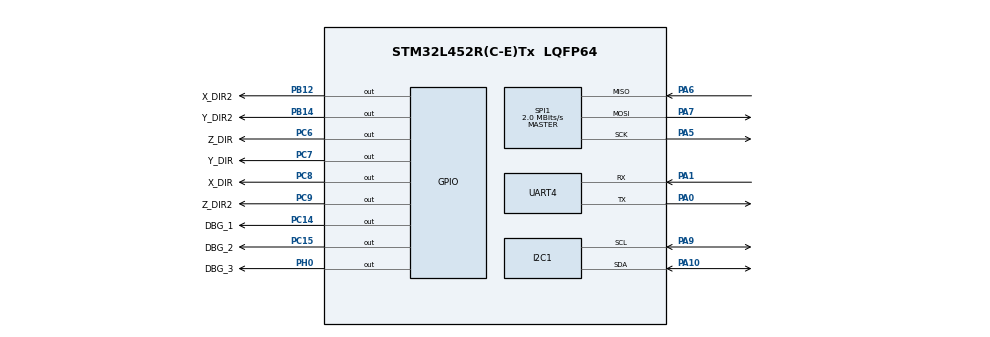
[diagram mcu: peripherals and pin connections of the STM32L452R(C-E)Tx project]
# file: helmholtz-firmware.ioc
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Mcu.Family=STM32L4
Mcu.Name=STM32L452R(C-E)Tx
Mcu.Package=LQFP64
NVIC.PriorityGroup=NVIC_PRIORITYGROUP_4
NVIC.UART4_IRQn=true\:0\:0\:false\:false\:true\:true\:true\:true
PA0.Mode=Asynchronous
PA0.Signal=UART4_TX
PA1.Mode=Asynchronous
PA1.Signal=UART4_RX
PA10.Mode=I2C
PA10.Signal=I2C1_SDA
PA13\ (JTMS/SWDIO).Mode=Serial_Wire
PA13\ (JTMS/SWDIO).Signal=SYS_JTMS-SWDIO
PA14\ (JTCK/SWCLK).Mode=Serial_Wire
PA14\ (JTCK/SWCLK).Signal=SYS_JTCK-SWCLK
PA5.Mode=Full_Duplex_Master
PA5.Signal=SPI1_SCK
PA6.Mode=Full_Duplex_Master
PA6.Signal=SPI1_MISO
PA7.Mode=Full_Duplex_Master
PA7.Signal=SPI1_MOSI
PA9.Mode=I2C
PA9.Signal=I2C1_SCL
PB12.GPIO_Label=X_DIR2
PB12.Signal=GPIO_Output
PB14.GPIO_Label=Y_DIR2
PB14.Signal=GPIO_Output
PC14-OSC32_IN\ (PC14).GPIO_Label=DBG_1
PC14-OSC32_IN\ (PC14).Signal=GPIO_Output
PC15-OSC32_OUT\ (PC15).GPIO_Label=DBG_2
PC15-OSC32_OUT\ (PC15).Signal=GPIO_Output
PC6.GPIO_Label=Z_DIR
PC6.GPIO_PuPd=GPIO_NOPULL
PC6.Signal=GPIO_Output
PC7.GPIO_Label=Y_DIR
PC7.GPIO_PuPd=GPIO_NOPULL
PC7.Signal=GPIO_Output
PC8.GPIO_Label=X_DIR
PC8.GPIO_PuPd=GPIO_NOPULL
PC8.Signal=GPIO_Output
PC9.GPIO_Label=Z_DIR2
PC9.Signal=GPIO_Output
PH0-OSC_IN\ (PH0).GPIO_Label=DBG_3
PH0-OSC_IN\ (PH0).Signal=GPIO_Output
ProjectManager.HeapSize=0x200
ProjectManager.StackSize=0x400
ProjectManager.TargetToolchain=STM32CubeIDE
RCC.HSE_VALUE=8000000
RCC.HSI48_VALUE=48000000
RCC.HSI_VALUE=16000000
RCC.LSE_VALUE=32768
RCC.MSI_VALUE=4000000
RCC.VCOOutputFreq_Value=32000000
SPI1.CalculateBaudRate=2.0 MBits/s
SPI1.Direction=SPI_DIRECTION_2LINES
SPI1.Mode=SPI_MODE_MASTER
SPI1.VirtualType=VM_MASTER
board=custom

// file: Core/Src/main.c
/* USER CODE BEGIN Header */
/**
  ******************************************************************************
  * @file           : main.c
  * @brief          : Main program body
  ******************************************************************************
  * @attention
  *
  * Copyright (c) 2023 STMicroelectronics.
  * All rights reserved.
  *
  * This software is licensed under terms that can be found in the LICENSE file
  * in the root directory of this software component.
  * If no LICENSE file comes with this software, it is provided AS-IS.
  *
  ******************************************************************************
  */
/* USER CODE END Header */
#include "main.h"

/* USER CODE BEGIN Includes */

// Drivers
#include "UART/UART.h"
#include "I2C/I2C.h"

// Peripherals
#include "DAC081/DAC081.h"
#include "MAX222/MAX222.h"

/* USER CODE END Includes */

I2C_HandleTypeDef hi2c1;

SPI_HandleTypeDef hspi1;

UART_HandleTypeDef huart4;

void SystemClock_Config(void);
static void MX_GPIO_Init(void);
static void MX_I2C1_Init(void);
static void MX_SPI1_Init(void);
static void MX_UART4_Init(void);

int main(void)
{

  /* MCU Configuration--------------------------------------------------------*/

  /* Reset of all peripherals, Initializes the Flash interface and the Systick. */
  HAL_Init();

  /* Configure the system clock */
  SystemClock_Config();

  /* Initialize all configured peripherals */
  MX_GPIO_Init();
  MX_I2C1_Init();
  MX_SPI1_Init();
  MX_UART4_Init();
  /* USER CODE BEGIN 2 */

  // initialize I2C
  hcc_i2c_t hcc_i2c;
  hcc_i2c_init(&hcc_i2c, &hi2c1);

  // wake up H-Bridges and set directions
  hcc_bridge_wake();

  hcc_set_x(1);
  hcc_set_y(1);
  hcc_set_z(1);

  /* USER CODE END 2 */

  /* Infinite loop */
  /* USER CODE BEGIN WHILE */

  uint8_t dir = 1;
  uint8_t i = 255;
  uint8_t packet[] = {0,0};

  while (1)
  {
	i = i - 1;
	if(i == 70){
		i = 255;
		dir = !dir;
		hcc_set_x(dir);
		hcc_set_y(dir);
		hcc_set_z(dir);
	}
	uint8_t b1 = i >> 4 & 0x0F;
    uint8_t b2 = i & 0xF0;
	packet[0] = b1;
	packet[1] = b2;
    HAL_I2C_Master_Transmit(&hi2c1, X_DAC, packet, sizeof(packet), HAL_MAX_DELAY);
    HAL_I2C_Master_Transmit(&hi2c1, Y_DAC, packet, sizeof(packet), HAL_MAX_DELAY);
    HAL_I2C_Master_Transmit(&hi2c1, Z_DAC, packet, sizeof(packet), HAL_MAX_DELAY);
    HAL_Delay(10);
    /* USER CODE END WHILE */

  }
}

void SystemClock_Config(void)
{
  RCC_OscInitTypeDef RCC_OscInitStruct = {0};
  RCC_ClkInitTypeDef RCC_ClkInitStruct = {0};

  /** Configure the main internal regulator output voltage
  */
  if (HAL_PWREx_ControlVoltageScaling(PWR_REGULATOR_VOLTAGE_SCALE1) != HAL_OK)
  {
    Error_Handler();
  }

  /** Initializes the RCC Oscillators according to the specified parameters
  * in the RCC_OscInitTypeDef structure.
  */
  RCC_OscInitStruct.OscillatorType = RCC_OSCILLATORTYPE_MSI;
  RCC_OscInitStruct.MSIState = RCC_MSI_ON;
  RCC_OscInitStruct.MSICalibrationValue = 0;
  RCC_OscInitStruct.MSIClockRange = RCC_MSIRANGE_6;
  RCC_OscInitStruct.PLL.PLLState = RCC_PLL_NONE;
  if (HAL_RCC_OscConfig(&RCC_OscInitStruct) != HAL_OK)
  {
    Error_Handler();
  }

  /** Initializes the CPU, AHB and APB buses clocks
  */
  RCC_ClkInitStruct.ClockType = RCC_CLOCKTYPE_HCLK|RCC_CLOCKTYPE_SYSCLK
                              |RCC_CLOCKTYPE_PCLK1|RCC_CLOCKTYPE_PCLK2;
  RCC_ClkInitStruct.SYSCLKSource = RCC_SYSCLKSOURCE_MSI;
  RCC_ClkInitStruct.AHBCLKDivider = RCC_SYSCLK_DIV1;
  RCC_ClkInitStruct.APB1CLKDivider = RCC_HCLK_DIV1;
  RCC_ClkInitStruct.APB2CLKDivider = RCC_HCLK_DIV1;

  if (HAL_RCC_ClockConfig(&RCC_ClkInitStruct, FLASH_LATENCY_0) != HAL_OK)
  {
    Error_Handler();
  }
}

static void MX_I2C1_Init(void)
{

  hi2c1.Instance = I2C1;
  hi2c1.Init.Timing = 0x00000E14;
  hi2c1.Init.OwnAddress1 = 0;
  hi2c1.Init.AddressingMode = I2C_ADDRESSINGMODE_7BIT;
  hi2c1.Init.DualAddressMode = I2C_DUALADDRESS_DISABLE;
  hi2c1.Init.OwnAddress2 = 0;
  hi2c1.Init.OwnAddress2Masks = I2C_OA2_NOMASK;
  hi2c1.Init.GeneralCallMode = I2C_GENERALCALL_DISABLE;
  hi2c1.Init.NoStretchMode = I2C_NOSTRETCH_DISABLE;
  if (HAL_I2C_Init(&hi2c1) != HAL_OK)
  {
    Error_Handler();
  }

  /** Configure Analogue filter
  */
  if (HAL_I2CEx_ConfigAnalogFilter(&hi2c1, I2C_ANALOGFILTER_ENABLE) != HAL_OK)
  {
    Error_Handler();
  }

  /** Configure Digital filter
  */
  if (HAL_I2CEx_ConfigDigitalFilter(&hi2c1, 0) != HAL_OK)
  {
    Error_Handler();
  }

}

static void MX_SPI1_Init(void)
{

  /* SPI1 parameter configuration*/
  hspi1.Instance = SPI1;
  hspi1.Init.Mode = SPI_MODE_MASTER;
  hspi1.Init.Direction = SPI_DIRECTION_2LINES;
  hspi1.Init.DataSize = SPI_DATASIZE_4BIT;
  hspi1.Init.CLKPolarity = SPI_POLARITY_LOW;
  hspi1.Init.CLKPhase = SPI_PHASE_1EDGE;
  hspi1.Init.NSS = SPI_NSS_SOFT;
  hspi1.Init.BaudRatePrescaler = SPI_BAUDRATEPRESCALER_2;
  hspi1.Init.FirstBit = SPI_FIRSTBIT_MSB;
  hspi1.Init.TIMode = SPI_TIMODE_DISABLE;
  hspi1.Init.CRCCalculation = SPI_CRCCALCULATION_DISABLE;
  hspi1.Init.CRCPolynomial = 7;
  hspi1.Init.CRCLength = SPI_CRC_LENGTH_DATASIZE;
  hspi1.Init.NSSPMode = SPI_NSS_PULSE_ENABLE;
  if (HAL_SPI_Init(&hspi1) != HAL_OK)
  {
    Error_Handler();
  }

}

static void MX_UART4_Init(void)
{

  huart4.Instance = UART4;
  huart4.Init.BaudRate = 115200;
  huart4.Init.WordLength = UART_WORDLENGTH_8B;
  huart4.Init.StopBits = UART_STOPBITS_1;
  huart4.Init.Parity = UART_PARITY_NONE;
  huart4.Init.Mode = UART_MODE_TX_RX;
  huart4.Init.HwFlowCtl = UART_HWCONTROL_NONE;
  huart4.Init.OverSampling = UART_OVERSAMPLING_16;
  huart4.Init.OneBitSampling = UART_ONE_BIT_SAMPLE_DISABLE;
  huart4.AdvancedInit.AdvFeatureInit = UART_ADVFEATURE_NO_INIT;
  if (HAL_UART_Init(&huart4) != HAL_OK)
  {
    Error_Handler();
  }

}

static void MX_GPIO_Init(void)
{
  GPIO_InitTypeDef GPIO_InitStruct = {0};

  /* GPIO Ports Clock Enable */
  __HAL_RCC_GPIOC_CLK_ENABLE();
  __HAL_RCC_GPIOH_CLK_ENABLE();
  __HAL_RCC_GPIOA_CLK_ENABLE();
  __HAL_RCC_GPIOB_CLK_ENABLE();

  /*Configure GPIO pin Output Level */
  HAL_GPIO_WritePin(GPIOC, DBG_1_Pin|DBG_2_Pin|Z_DIR_Pin|Y_DIR_Pin
                          |X_DIR_Pin|Z_DIR2_Pin, GPIO_PIN_RESET);

  /*Configure GPIO pin Output Level */
  HAL_GPIO_WritePin(DBG_3_GPIO_Port, DBG_3_Pin, GPIO_PIN_RESET);

  /*Configure GPIO pin Output Level */
  HAL_GPIO_WritePin(GPIOB, X_DIR2_Pin|Y_DIR2_Pin, GPIO_PIN_RESET);

  /*Configure GPIO pins : DBG_1_Pin DBG_2_Pin Z_DIR_Pin Y_DIR_Pin
                           X_DIR_Pin Z_DIR2_Pin */
  GPIO_InitStruct.Pin = DBG_1_Pin|DBG_2_Pin|Z_DIR_Pin|Y_DIR_Pin
                          |X_DIR_Pin|Z_DIR2_Pin;
  GPIO_InitStruct.Mode = GPIO_MODE_OUTPUT_PP;
  GPIO_InitStruct.Pull = GPIO_NOPULL;
  GPIO_InitStruct.Speed = GPIO_SPEED_FREQ_LOW;
  HAL_GPIO_Init(GPIOC, &GPIO_InitStruct);

  /*Configure GPIO pin : DBG_3_Pin */
  GPIO_InitStruct.Pin = DBG_3_Pin;
  GPIO_InitStruct.Mode = GPIO_MODE_OUTPUT_PP;
  GPIO_InitStruct.Pull = GPIO_NOPULL;
  GPIO_InitStruct.Speed = GPIO_SPEED_FREQ_LOW;
  HAL_GPIO_Init(DBG_3_GPIO_Port, &GPIO_InitStruct);

  /*Configure GPIO pins : X_DIR2_Pin Y_DIR2_Pin */
  GPIO_InitStruct.Pin = X_DIR2_Pin|Y_DIR2_Pin;
  GPIO_InitStruct.Mode = GPIO_MODE_OUTPUT_PP;
  GPIO_InitStruct.Pull = GPIO_NOPULL;
  GPIO_InitStruct.Speed = GPIO_SPEED_FREQ_LOW;
  HAL_GPIO_Init(GPIOB, &GPIO_InitStruct);

}

void Error_Handler(void)
{
  __disable_irq();
  while (1)
  {
  }
}
